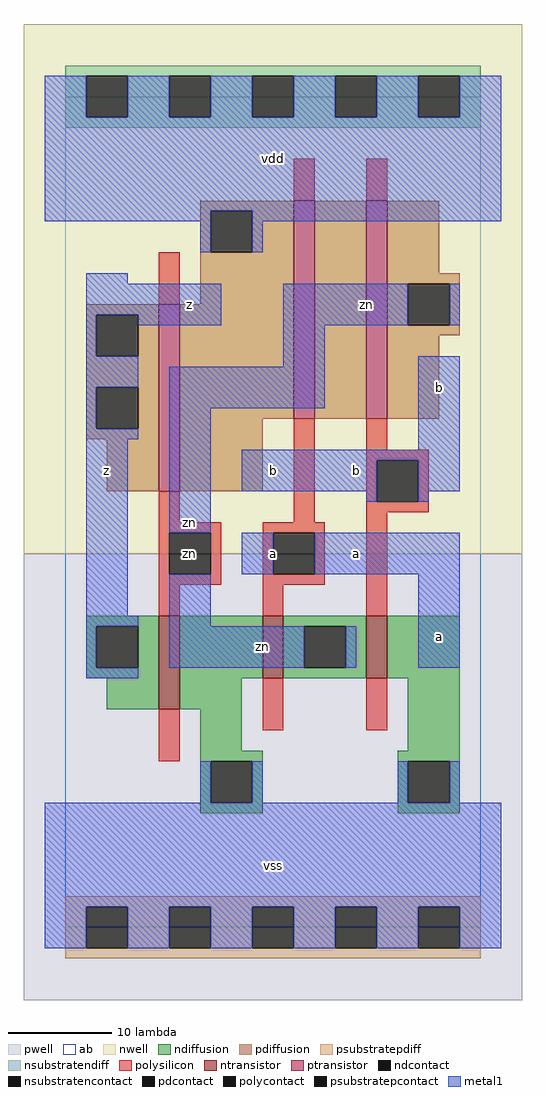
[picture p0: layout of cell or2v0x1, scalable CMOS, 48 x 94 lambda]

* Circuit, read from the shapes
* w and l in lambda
.subckt or2v0x1 a b vdd vss z zn
M1 vss zn z vss nfet w=9 l=2
M2 zn a vss vss nfet w=6 l=2
M3 vss b zn vss nfet w=6 l=2
M4 vdd zn z vdd pfet w=18 l=2
M5 n1 a vdd vdd pfet w=21 l=2
M6 zn b n1 vdd pfet w=21 l=2
.ends

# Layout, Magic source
magic
tech scmos
<< ab >>
rect 0 0 40 80
<< pwell >>
rect -4 -7 44 36
<< nwell >>
rect -4 36 44 87
<< polysilicon >>
rect 22 70 24 74
rect 29 70 31 74
rect 9 60 11 65
rect 9 39 11 42
rect 22 39 24 49
rect 29 46 31 49
rect 29 45 35 46
rect 29 41 30 45
rect 34 41 35 45
rect 29 40 35 41
rect 9 38 15 39
rect 9 34 10 38
rect 14 34 15 38
rect 9 33 15 34
rect 19 38 25 39
rect 19 34 20 38
rect 24 34 25 38
rect 19 33 25 34
rect 9 30 11 33
rect 19 30 21 33
rect 29 30 31 40
rect 9 16 11 21
rect 19 19 21 24
rect 29 19 31 24
<< ndiffusion >>
rect 2 29 9 30
rect 2 25 3 29
rect 7 25 9 29
rect 2 24 9 25
rect 4 21 9 24
rect 11 24 19 30
rect 21 29 29 30
rect 21 25 23 29
rect 27 25 29 29
rect 21 24 29 25
rect 31 24 38 30
rect 11 21 17 24
rect 13 17 17 21
rect 33 17 38 24
rect 13 16 19 17
rect 13 12 14 16
rect 18 12 19 16
rect 13 11 19 12
rect 32 16 38 17
rect 32 12 33 16
rect 37 12 38 16
rect 32 11 38 12
<< pdiffusion >>
rect 13 69 22 70
rect 13 65 14 69
rect 18 65 22 69
rect 13 60 22 65
rect 2 59 9 60
rect 2 55 3 59
rect 7 55 9 59
rect 2 52 9 55
rect 2 48 3 52
rect 7 48 9 52
rect 2 47 9 48
rect 4 42 9 47
rect 11 49 22 60
rect 24 49 29 70
rect 31 63 36 70
rect 31 62 38 63
rect 31 58 33 62
rect 37 58 38 62
rect 31 57 38 58
rect 31 49 36 57
rect 11 42 19 49
<< metal1 >>
rect -2 78 2 82
rect 6 78 10 82
rect 14 78 18 82
rect 22 78 26 82
rect 30 78 34 82
rect 38 78 42 82
rect -2 69 42 78
rect -2 68 14 69
rect 13 65 14 68
rect 18 68 42 69
rect 18 65 19 68
rect 2 62 6 63
rect 2 59 15 62
rect 2 55 3 59
rect 7 58 15 59
rect 21 58 33 62
rect 37 58 38 62
rect 2 52 7 55
rect 21 54 25 58
rect 2 48 3 52
rect 2 47 7 48
rect 10 50 25 54
rect 2 30 6 47
rect 10 38 14 50
rect 34 46 38 55
rect 17 45 38 46
rect 17 42 30 45
rect 29 41 30 42
rect 34 42 38 45
rect 34 41 35 42
rect 17 34 20 38
rect 24 34 38 38
rect 2 29 7 30
rect 2 25 3 29
rect 10 29 14 34
rect 10 25 23 29
rect 27 25 28 29
rect 34 25 38 34
rect 2 24 7 25
rect 13 12 14 16
rect 18 12 19 16
rect 32 12 33 16
rect 37 12 38 16
rect -2 2 42 12
rect -2 -2 2 2
rect 6 -2 10 2
rect 14 -2 18 2
rect 22 -2 26 2
rect 30 -2 34 2
rect 38 -2 42 2
<< ntransistor >>
rect 9 21 11 30
rect 19 24 21 30
rect 29 24 31 30
<< ptransistor >>
rect 9 42 11 60
rect 22 49 24 70
rect 29 49 31 70
<< polycontact >>
rect 30 41 34 45
rect 10 34 14 38
rect 20 34 24 38
<< ndcontact >>
rect 3 25 7 29
rect 23 25 27 29
rect 14 12 18 16
rect 33 12 37 16
<< pdcontact >>
rect 14 65 18 69
rect 3 55 7 59
rect 3 48 7 52
rect 33 58 37 62
<< psubstratepcontact >>
rect 2 -2 6 2
rect 10 -2 14 2
rect 18 -2 22 2
rect 26 -2 30 2
rect 34 -2 38 2
<< nsubstratencontact >>
rect 2 78 6 82
rect 10 78 14 82
rect 18 78 22 82
rect 26 78 30 82
rect 34 78 38 82
<< psubstratepdiff >>
rect 0 2 40 3
rect 0 -2 2 2
rect 6 -2 10 2
rect 14 -2 18 2
rect 22 -2 26 2
rect 30 -2 34 2
rect 38 -2 40 2
rect 0 -3 40 -2
<< nsubstratendiff >>
rect 0 82 40 83
rect 0 78 2 82
rect 6 78 10 82
rect 14 78 18 82
rect 22 78 26 82
rect 30 78 34 82
rect 38 78 40 82
rect 0 77 40 78
<< labels >>
rlabel polycontact 12 36 12 36 6 zn
rlabel metal1 4 44 4 44 6 z
rlabel metal1 12 39 12 39 6 zn
rlabel metal1 12 60 12 60 6 z
rlabel metal1 20 6 20 6 6 vss
rlabel metal1 20 36 20 36 6 a
rlabel metal1 19 27 19 27 6 zn
rlabel metal1 28 36 28 36 6 a
rlabel metal1 28 44 28 44 6 b
rlabel metal1 20 44 20 44 6 b
rlabel metal1 20 74 20 74 6 vdd
rlabel metal1 36 28 36 28 6 a
rlabel metal1 36 52 36 52 6 b
rlabel metal1 29 60 29 60 6 zn
<< end >>
